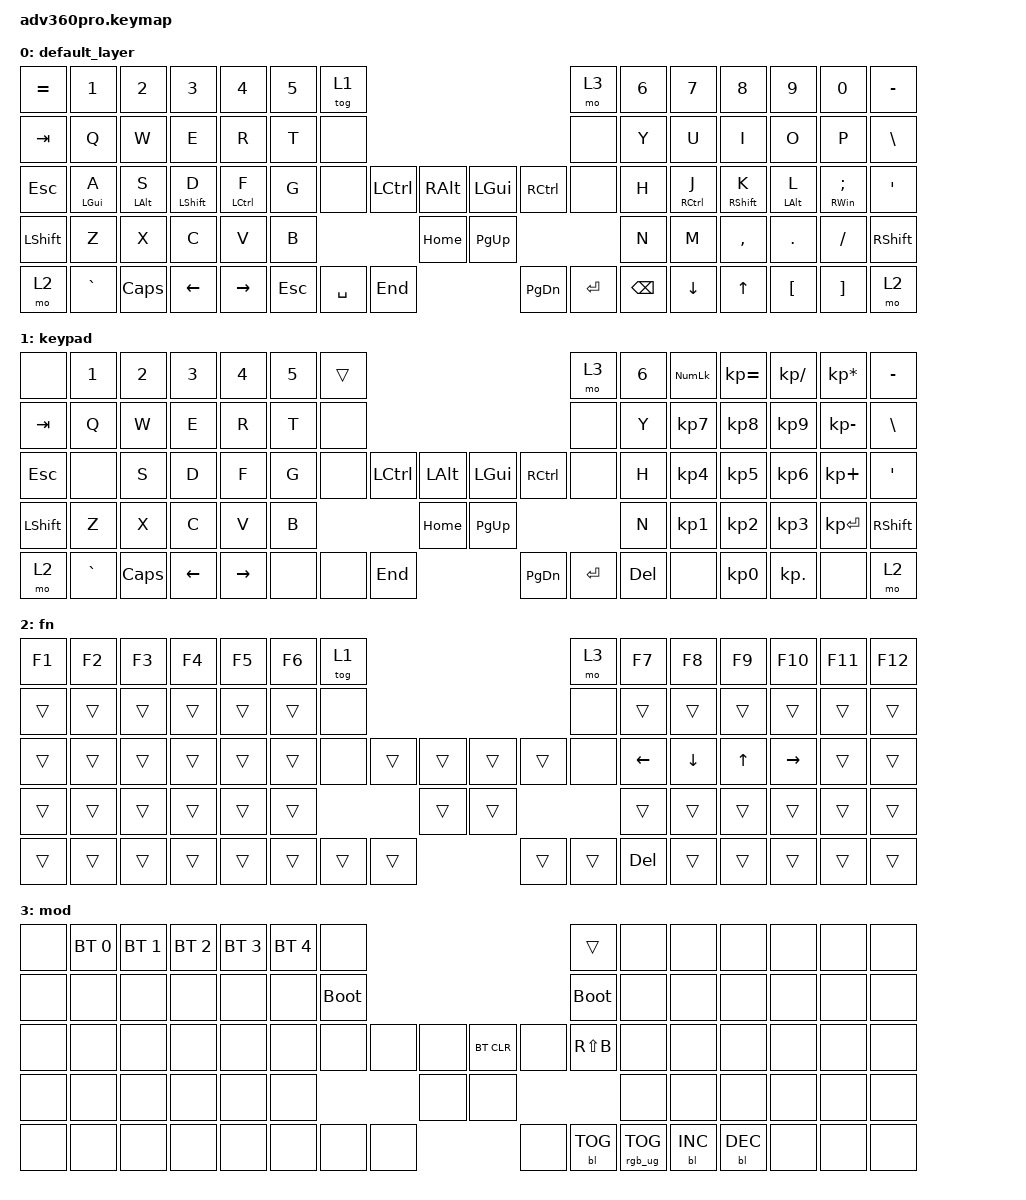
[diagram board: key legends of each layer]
#include <behaviors.dtsi>
#include <dt-bindings/zmk/backlight.h>
#include <dt-bindings/zmk/bt.h>
#include <dt-bindings/zmk/keys.h>
#include <dt-bindings/zmk/rgb.h>

/ {
    combos {
        compatible = "zmk,combos";

        esc {
            timeout-ms = <100>;
            key-positions = <30 31 32>;
            bindings = <&kp ESCAPE>;
            require-prior-idle-ms = <150>;
            layers = <0>;
        };

        excl {
            bindings = <&kp EXCLAMATION>;
            key-positions = <15 29>;
            require-prior-idle-ms = <150>;
            layers = <0>;
        };

        hash {
            bindings = <&kp HASH>;
            key-positions = <17 31>;
            require-prior-idle-ms = <150>;
            layers = <0>;
        };

        dollar {
            bindings = <&kp DLLR>;
            key-positions = <18 32>;
            require-prior-idle-ms = <150>;
            layers = <0>;
        };

        at {
            bindings = <&kp AT>;
            key-positions = <30 16>;
            require-prior-idle-ms = <150>;
            layers = <0>;
        };

        percent {
            bindings = <&kp PERCENT>;
            key-positions = <19 33>;
            require-prior-idle-ms = <150>;
            layers = <0>;
        };

        caret {
            bindings = <&kp CARET>;
            key-positions = <22 40>;
            require-prior-idle-ms = <150>;
            layers = <0>;
        };

        plus {
            bindings = <&kp PLUS>;
            key-positions = <23 41>;
            require-prior-idle-ms = <150>;
            layers = <0>;
        };

        mul {
            bindings = <&kp KP_MULTIPLY>;
            key-positions = <24 42>;
            require-prior-idle-ms = <150>;
            layers = <0>;
        };

        and {
            bindings = <&kp AMPERSAND>;
            key-positions = <25 43>;
            require-prior-idle-ms = <150>;
            layers = <0>;
        };

        minus {
            bindings = <&kp MINUS>;
            key-positions = <41 55>;
            require-prior-idle-ms = <150>;
            layers = <0>;
        };

        under {
            bindings = <&kp UNDERSCORE>;
            key-positions = <54 40>;
            require-prior-idle-ms = <150>;
            layers = <0>;
        };

        eql {
            bindings = <&kp EQUAL>;
            key-positions = <32 50>;
            require-prior-idle-ms = <150>;
            layers = <0>;
        };

        tilda {
            bindings = <&kp TILDE>;
            key-positions = <33 51>;
            require-prior-idle-ms = <150>;
            layers = <0>;
        };

        grave {
            bindings = <&kp GRAVE>;
            key-positions = <29 47>;
            require-prior-idle-ms = <150>;
            layers = <0>;
        };

        tab {
            bindings = <&kp TAB>;
            key-positions = <29 30>;
            require-prior-idle-ms = <150>;
            layers = <0>;
        };

        colon {
            bindings = <&kp COLON>;
            key-positions = <44 43>;
            require-prior-idle-ms = <150>;
            layers = <0>;
        };

        capsw {
            bindings = <&caps_word>;
            key-positions = <31 42>;
            require-prior-idle-ms = <150>;
            layers = <0>;
        };

        quote {
            bindings = <&kp SINGLE_QUOTE>;
            key-positions = <26 44>;
            require-prior-idle-ms = <150>;
            layers = <0>;
        };

        d-quote {
            bindings = <&kp DOUBLE_QUOTES>;
            key-positions = <44 58>;
            require-prior-idle-ms = <150>;
            layers = <0>;
        };
    };

    macros {
        gif: gif {
            label = "giphy";
            compatible = "zmk,behavior-macro";
            #binding-cells = <0>;
            bindings =
                <&macro_press>,
                <&kp LSHFT>,
                <&macro_tap>,
                <&kp N2>,
                <&macro_release>,
                <&kp LSHFT>,
                <&macro_tap>,
                <&kp G &kp I &kp F>;
        };
    };

    behaviors {
        hm: homerow_mods {
            compatible = "zmk,behavior-hold-tap";
            label = "HOMEROW_MODS";
            #binding-cells = <2>;
            tapping-term-ms = <200>;
            quick_tap_ms = <175>;
            flavor = "tap-preferred";
            bindings = <&kp>, <&kp>;
        };

        hmr: hmr {
            compatible = "zmk,behavior-hold-tap";
            label = "HMR";
            bindings = <&kp>, <&kp>;

            #binding-cells = <2>;
            tapping-term-ms = <280>;
            quick-tap-ms = <200>;
            flavor = "balanced";
            hold-trigger-key-positions = <0 1 14 15 16 17 18 19 20 28 29 30 31 32 33 34 35 46 47 48 49 50 51 60 61 62 63 64 0 1 2 3 4 5 6 14 15 16 17 18 19 20 28 29 30 31 32 33 34 46 47 48 49 50 51 60 61 62 63 64 65 35 36 52 65 66 67 37 38 53 68 69 70>;
            require-prior-idle-ms = <150>;
            hold-trigger-on-release;
        };

        hml: hml {
            compatible = "zmk,behavior-hold-tap";
            label = "HML";
            bindings = <&kp>, <&kp>;

            #binding-cells = <2>;
            tapping-term-ms = <280>;
            quick-tap-ms = <200>;
            flavor = "balanced";
            hold-trigger-key-positions = <35 65 35 36 52 65 66 67 37 53 68 69 70 42 22 23 24 25 26 40 41 42 43 44 54 55 56 57 58 71 72 73 7 8 9 10 11 12 13 21 22 23 24 25 26 27 38 39 40 41 42 43 44 45 54 55 56 57 58 59 69 70 71 72 73 74 75>;
            require-prior-idle-ms = <150>;
            hold-trigger-on-release;
        };
    };

    keymap {
        compatible = "zmk,keymap";

        default_layer {
            bindings = <
&kp EQUAL  &kp N1           &kp N2           &kp N3             &kp N4        &kp N5  &tog 1                                                                            &mo 3  &kp N6  &kp N7        &kp N8              &kp N9           &kp N0               &kp MINUS
&kp TAB    &kp Q            &kp W            &kp E              &kp R         &kp T   &none                                                                             &none  &kp Y   &kp U         &kp I               &kp O            &kp P                &kp BSLH
&kp ESC    &hml LEFT_GUI A  &hml LEFT_ALT S  &hml LEFT_SHIFT D  &hml LCTRL F  &kp G   &none            &kp LCTRL  &kp RIGHT_ALT    &kp LGUI   &kp RCTRL                 &none  &kp H   &hmr RCTRL J  &hmr RIGHT_SHIFT K  &hmr LEFT_ALT L  &hmr RIGHT_WIN SEMI  &kp SQT
&kp LSHFT  &kp Z            &kp X            &kp C              &kp V         &kp B                               &kp HOME         &kp PG_UP                                   &kp N   &kp M         &kp COMMA           &kp DOT          &kp FSLH             &kp RSHFT
&mo 2      &kp GRAVE        &kp CAPS         &kp LEFT           &kp RIGHT                     &kp ESC  &kp SPACE  &kp END          &kp PG_DN  &kp ENTER  &kp BACKSPACE                 &kp DOWN      &kp UP              &kp LBKT         &kp RBKT             &mo 2
            >;
        };

        keypad {
            bindings = <
&none      &kp N1     &kp N2    &kp N3    &kp N4     &kp N5  &trans                                                               &mo 3  &kp N6  &kp KP_NUM  &kp KP_EQUAL  &kp KP_DIVIDE  &kp KP_MULTIPLY  &kp MINUS
&kp TAB    &kp Q      &kp W     &kp E     &kp R      &kp T   &none                                                                &none  &kp Y   &kp KP_N7   &kp KP_N8     &kp KP_N9      &kp KP_MINUS     &kp BSLH
&kp ESC    &none      &kp S     &kp D     &kp F      &kp G   &none          &kp LCTRL  &kp LALT    &kp LGUI   &kp RCTRL           &none  &kp H   &kp KP_N4   &kp KP_N5     &kp KP_N6      &kp KP_PLUS      &kp SQT
&kp LSHFT  &kp Z      &kp X     &kp C     &kp V      &kp B                             &kp HOME    &kp PG_UP                             &kp N   &kp KP_N1   &kp KP_N2     &kp KP_N3      &kp KP_ENTER     &kp RSHFT
&mo 2      &kp GRAVE  &kp CAPS  &kp LEFT  &kp RIGHT                  &none  &none      &kp END     &kp PG_DN  &kp ENTER  &kp DEL                 &none       &kp KP_N0     &kp KP_DOT     &none            &mo 2
            >;
        };

        fn {
            bindings = <
&kp F1  &kp F2  &kp F3  &kp F4  &kp F5  &kp F6  &tog 1                                                     &mo 3  &kp F7    &kp F8    &kp F9  &kp F10    &kp F11  &kp F12
&trans  &trans  &trans  &trans  &trans  &trans  &none                                                      &none  &trans    &trans    &trans  &trans     &trans   &trans
&trans  &trans  &trans  &trans  &trans  &trans  &none           &trans  &trans    &trans  &trans           &none  &kp LEFT  &kp DOWN  &kp UP  &kp RIGHT  &trans   &trans
&trans  &trans  &trans  &trans  &trans  &trans                          &trans    &trans                          &trans    &trans    &trans  &trans     &trans   &trans
&trans  &trans  &trans  &trans  &trans                  &trans  &trans  &trans    &trans  &trans  &kp DEL                   &trans    &trans  &trans     &trans   &trans
            >;
        };

        mod {
            bindings = <
&none  &bt BT_SEL 0  &bt BT_SEL 1  &bt BT_SEL 2  &bt BT_SEL 3  &bt BT_SEL 4  &none                                                                        &trans       &none  &none       &none       &none  &none  &none
&none  &none         &none         &none         &none         &none         &bootloader                                                                  &bootloader  &none  &none       &none       &none  &none  &none
&none  &none         &none         &none         &none         &none         &none               &none  &none    &bt BT_CLR  &none                        &kp RS(B)    &none  &none       &none       &none  &none  &none
&none  &none         &none         &none         &none         &none                                    &none    &none                                                 &none  &none       &none       &none  &none  &none
&none  &none         &none         &none         &none                                    &none  &none  &none    &none       &bl BL_TOG  &rgb_ug RGB_TOG                      &bl BL_INC  &bl BL_DEC  &none  &none  &none
            >;
        };
    };
};
